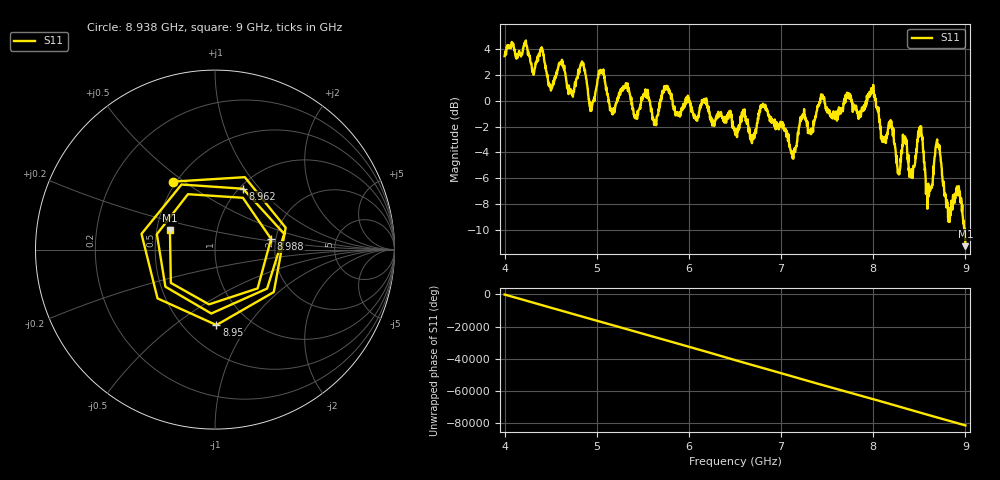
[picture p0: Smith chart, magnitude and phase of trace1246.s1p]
! Created with skrf 1.8.0 (http://scikit-rf.org).
# Hz S RI R 50.0
!freq ReS11 ImS11
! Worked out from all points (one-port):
!   1601 points, 4 GHz to 9 GHz, reference 50 ohm
!   lowest |S11| = -11.2 dB at 9 GHz (marker M1), VSWR 1.75, Z = 29.3 + j6.95 ohm
!   |S11| at or under -10 dB: 8.992033 GHz to end of sweep
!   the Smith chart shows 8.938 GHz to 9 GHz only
!   S11 on the Smith chart (normalised r, x): 8.938 GHz: 0.48, +0.45; 8.95 GHz: 0.71, -0.72; 8.962 GHz: 1.04, +0.82; 8.988 GHz: 1.89, +0.25; 9 GHz: 0.59, +0.14
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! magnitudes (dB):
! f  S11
! 4 GHz  3.4
! 4.4 GHz  4.0
! 4.497 GHz  1.1
! 4.625 GHz  2.7
! 4.728 GHz  0.6
! 4.847 GHz  2.8
! 4.938 GHz  -0.7
! 5.047 GHz  2.2
! 5.166 GHz  -1.0
! 5.25 GHz  0.6
! 5.875 GHz  -1.1
! 6.5 GHz  -2.5
! 6.806 GHz  -0.4
! 7.125 GHz  -4.5
! 7.441 GHz  0.3
! 7.75 GHz  0.5
! 7.997 GHz  0.7
! 8.109 GHz  -2.8
! 8.375 GHz  -4.4
! 8.509 GHz  -2.4
! 8.597 GHz  -6.4
! 8.7 GHz  -3.6
! 8.816 GHz  -8.4
! 8.938 GHz  -7.0
! 8.95 GHz  -7.5
! 8.962 GHz  -8.6
! 8.988 GHz  -10.0
! 9 GHz  -11.2
